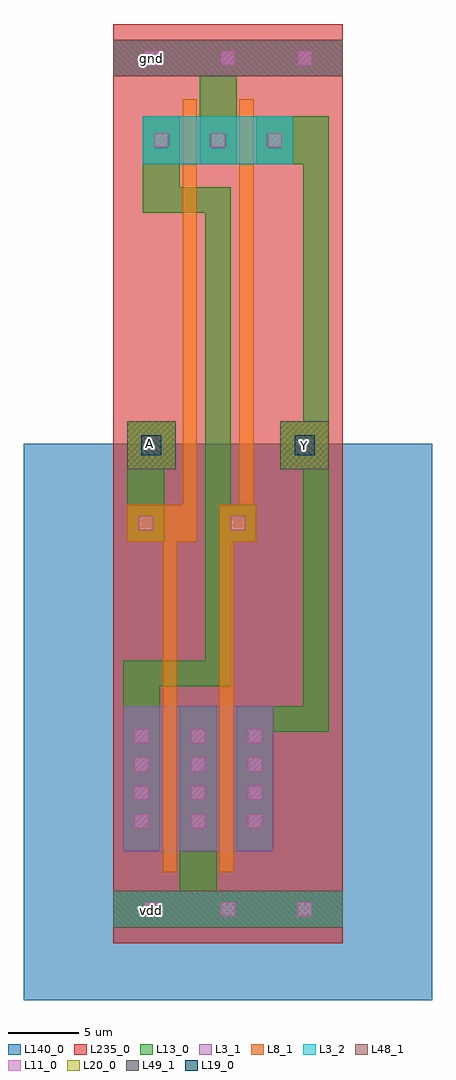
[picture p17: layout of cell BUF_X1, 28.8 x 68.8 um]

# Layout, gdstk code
import gdstk
lib = gdstk.Library(unit=1e-6, precision=1e-09)
def R(c, l, rs):  # rectangles x0, y0, x1, y1
    for r in rs: c.add(gdstk.rectangle(r[:2], r[2:], *l))
def A(c, l, x, y, w, h, nx, ny, dx, dy):  # array of equal rectangles
    R(c, l, [(x+i*dx, y+j*dy, x+i*dx+w, y+j*dy+h) for i in range(nx) for j in range(ny)])
def P(c, l, *ps):  # polygons
    for p in ps: c.add(gdstk.Polygon(p, *l))
L3_1 = (3, 1)
L3_2 = (3, 2)
L8_1 = (8, 1)
L11_0 = (11, 0)
L13_0 = (13, 0)
L19_0 = (19, 0)
L20_0 = (20, 0)
L48_1 = (48, 1)
L49_1 = (49, 1)
L140_0 = (140, 0)
L235_0 = (235, 0)

buf_x1 = lib.new_cell('BUF_X1')
R(buf_x1, L3_1, [(0.7,-58.3,7.3,-48.1), (4.7,-58.3,11.3,-48.1), (0,-3.7,16.2,-1.1)])
R(buf_x1, L3_2, [(0,-63.7,16.2,-61.1), (2.1,-9.9,8.7,-6.5), (6.1,-9.9,12.7,-6.5)])
R(buf_x1, L8_1, [(7.5,-36.5,10.1,-33.9)])
P(buf_x1, L8_1, [(7.5,-59.8),(7.5,-33.9),(8.9,-33.9),(8.9,-5.3),(9.9,-5.3),(9.9,-36.5),(8.5,-36.5),(8.5,-59.8)],
  [(3.5,-59.8),(3.5,-36.5),(1,-36.5),(1,-33.9),(4.9,-33.9),(4.9,-5.3),(5.9,-5.3),(5.9,-36.5),(4.5,-36.5),(4.5,-59.8)])
A(buf_x1, L11_0, 1.5, -56.7, 1, 1, 1, 4, 0, 2)
A(buf_x1, L11_0, 9.5, -56.7, 1, 1, 1, 4, 0, 2)
R(buf_x1, L11_0, [(2.2,-62.9,3.2,-61.9), (2.2,-62.9,3.2,-61.9), (7.6,-62.9,8.6,-61.9), (7.6,-62.9,8.6,-61.9), (7.6,-62.9,8.6,-61.9), (7.6,-62.9,8.6,-61.9), (13,-62.9,14,-61.9), (5.5,-56.7,6.5,-55.7), (5.5,-56.7,6.5,-55.7), (5.5,-54.7,6.5,-53.7), (5.5,-54.7,6.5,-53.7), (5.5,-52.7,6.5,-51.7), (5.5,-52.7,6.5,-51.7), (5.5,-50.7,6.5,-49.7), (5.5,-50.7,6.5,-49.7), (1.8,-35.7,2.8,-34.7), (8.3,-35.7,9.3,-34.7), (2.9,-8.7,3.9,-7.7), (6.9,-8.7,7.9,-7.7), (6.9,-8.7,7.9,-7.7), (10.9,-8.7,11.9,-7.7), (2.2,-2.9,3.2,-1.9), (7.6,-2.9,8.6,-1.9), (7.6,-2.9,8.6,-1.9), (13,-2.9,14,-1.9)])
R(buf_x1, L13_0, [(0,-63.7,16.2,-61.1), (4.7,-61.1,7.3,-48.1), (7.5,-36.5,10.1,-33.9), (6.1,-9.9,8.7,-3.7), (0,-3.7,16.2,-1.1)])
P(buf_x1, L13_0, [(1,-36.5),(1,-28),(4.4,-28),(4.4,-31.4),(3.6,-31.4),(3.6,-36.5)],
  [(0.7,-58.3),(0.7,-44.9),(6.5,-44.9),(6.5,-13.3),(2.1,-13.3),(2.1,-6.5),(4.7,-6.5),(4.7,-11.5),(8.3,-11.5),(8.3,-46.7),(3.3,-46.7),(3.3,-58.3)],
  [(8.7,-58.3),(8.7,-48.1),(13.4,-48.1),(13.4,-31.4),(11.8,-31.4),(11.8,-28),(13.4,-28),(13.4,-9.9),(10.1,-9.9),(10.1,-6.5),(15.2,-6.5),(15.2,-49.9),(11.3,-49.9),(11.3,-58.3)])
R(buf_x1, L19_0, [(2,-30.4,3.4,-29), (12.8,-30.4,14.2,-29)])
R(buf_x1, L20_0, [(1,-31.4,4.4,-28), (11.8,-31.4,15.2,-28)])
R(buf_x1, L48_1, [(0,-63.7,16.2,-61.1), (0,-3.7,16.2,-1.1)])
R(buf_x1, L49_1, [(1,-31.4,4.4,-28), (11.8,-31.4,15.2,-28)])
R(buf_x1, L140_0, [(-6.3,-68.8,22.5,-29.6)])
R(buf_x1, L235_0, [(0,-64.8,16.2,0)])
buf_x1.add(gdstk.Label('gnd', (2.7,-2.4), layer=48, texttype=0))
buf_x1.add(gdstk.Label('vdd', (2.7,-62.5), layer=48, texttype=0))
buf_x1.add(gdstk.Label('A', (2.6,-29.6), layer=49, texttype=0))
buf_x1.add(gdstk.Label('Y', (13.5,-29.7), layer=49, texttype=0))

lib.write_gds('BUF_X1.gds')
